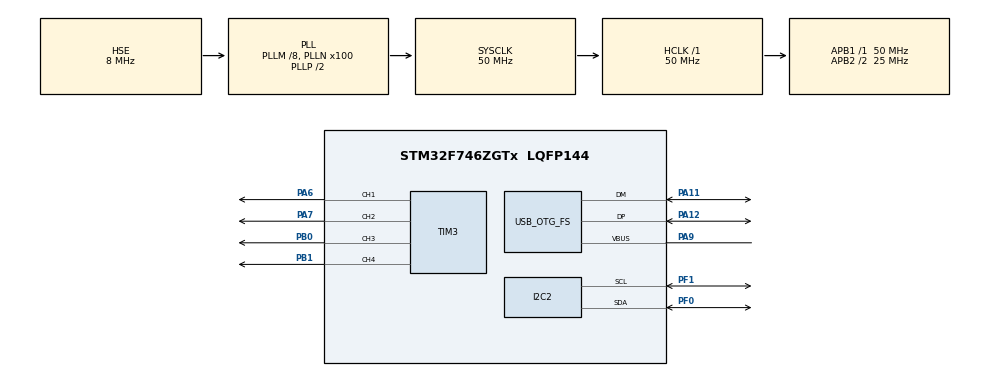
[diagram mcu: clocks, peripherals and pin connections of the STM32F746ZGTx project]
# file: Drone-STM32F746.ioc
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Dma.Request0=TIM3_CH1/TRIG
Dma.Request1=TIM3_CH2
Dma.Request2=TIM3_CH3
Dma.Request3=TIM3_CH4/UP
Dma.TIM3_CH1/TRIG.0.Direction=DMA_MEMORY_TO_PERIPH
Dma.TIM3_CH1/TRIG.0.FIFOMode=DMA_FIFOMODE_ENABLE
Dma.TIM3_CH1/TRIG.0.FIFOThreshold=DMA_FIFO_THRESHOLD_1QUARTERFULL
Dma.TIM3_CH1/TRIG.0.Instance=DMA1_Stream4
Dma.TIM3_CH1/TRIG.0.MemBurst=DMA_MBURST_SINGLE
Dma.TIM3_CH1/TRIG.0.MemDataAlignment=DMA_MDATAALIGN_WORD
Dma.TIM3_CH1/TRIG.0.MemInc=DMA_MINC_ENABLE
Dma.TIM3_CH1/TRIG.0.Mode=DMA_NORMAL
Dma.TIM3_CH1/TRIG.0.PeriphBurst=DMA_PBURST_SINGLE
Dma.TIM3_CH1/TRIG.0.PeriphDataAlignment=DMA_PDATAALIGN_WORD
Dma.TIM3_CH1/TRIG.0.PeriphInc=DMA_PINC_DISABLE
Dma.TIM3_CH1/TRIG.0.Priority=DMA_PRIORITY_HIGH
Dma.TIM3_CH2.1.Direction=DMA_MEMORY_TO_PERIPH
Dma.TIM3_CH2.1.FIFOMode=DMA_FIFOMODE_ENABLE
Dma.TIM3_CH2.1.FIFOThreshold=DMA_FIFO_THRESHOLD_1QUARTERFULL
Dma.TIM3_CH2.1.Instance=DMA1_Stream5
Dma.TIM3_CH2.1.MemBurst=DMA_MBURST_SINGLE
Dma.TIM3_CH2.1.MemDataAlignment=DMA_MDATAALIGN_WORD
Dma.TIM3_CH2.1.MemInc=DMA_MINC_ENABLE
Dma.TIM3_CH2.1.Mode=DMA_NORMAL
Dma.TIM3_CH2.1.PeriphBurst=DMA_PBURST_SINGLE
Dma.TIM3_CH2.1.PeriphDataAlignment=DMA_PDATAALIGN_WORD
Dma.TIM3_CH2.1.PeriphInc=DMA_PINC_DISABLE
Dma.TIM3_CH2.1.Priority=DMA_PRIORITY_HIGH
Dma.TIM3_CH3.2.Direction=DMA_MEMORY_TO_PERIPH
Dma.TIM3_CH3.2.FIFOMode=DMA_FIFOMODE_ENABLE
Dma.TIM3_CH3.2.FIFOThreshold=DMA_FIFO_THRESHOLD_1QUARTERFULL
Dma.TIM3_CH3.2.Instance=DMA1_Stream7
Dma.TIM3_CH3.2.MemBurst=DMA_MBURST_SINGLE
Dma.TIM3_CH3.2.MemDataAlignment=DMA_MDATAALIGN_WORD
Dma.TIM3_CH3.2.MemInc=DMA_MINC_ENABLE
Dma.TIM3_CH3.2.Mode=DMA_NORMAL
Dma.TIM3_CH3.2.PeriphBurst=DMA_PBURST_SINGLE
Dma.TIM3_CH3.2.PeriphDataAlignment=DMA_PDATAALIGN_WORD
Dma.TIM3_CH3.2.PeriphInc=DMA_PINC_DISABLE
Dma.TIM3_CH3.2.Priority=DMA_PRIORITY_HIGH
Dma.TIM3_CH4/UP.3.Direction=DMA_MEMORY_TO_PERIPH
Dma.TIM3_CH4/UP.3.FIFOMode=DMA_FIFOMODE_ENABLE
Dma.TIM3_CH4/UP.3.FIFOThreshold=DMA_FIFO_THRESHOLD_1QUARTERFULL
Dma.TIM3_CH4/UP.3.Instance=DMA1_Stream2
Dma.TIM3_CH4/UP.3.MemBurst=DMA_MBURST_SINGLE
Dma.TIM3_CH4/UP.3.MemDataAlignment=DMA_MDATAALIGN_WORD
Dma.TIM3_CH4/UP.3.MemInc=DMA_MINC_ENABLE
Dma.TIM3_CH4/UP.3.Mode=DMA_NORMAL
Dma.TIM3_CH4/UP.3.PeriphBurst=DMA_PBURST_SINGLE
Dma.TIM3_CH4/UP.3.PeriphDataAlignment=DMA_PDATAALIGN_WORD
Dma.TIM3_CH4/UP.3.PeriphInc=DMA_PINC_DISABLE
Dma.TIM3_CH4/UP.3.Priority=DMA_PRIORITY_HIGH
FREERTOS.Tasks01=defaultTask,40,128,StartDefaultTask,Default,NULL,Dynamic,NULL,NULL;ProcessCmdTask,24,128,StartProcessCmdTask,Default,NULL,Dynamic,NULL,NULL
FREERTOS.configUSE_NEWLIB_REENTRANT=1
I2C2.Timing=0x00C0EAFF
Mcu.Family=STM32F7
Mcu.Name=STM32F746ZGTx
Mcu.Package=LQFP144
NVIC.DMA1_Stream2_IRQn=true\:5\:0\:false\:false\:true\:true\:false\:true\:true
NVIC.DMA1_Stream4_IRQn=true\:5\:0\:false\:false\:true\:true\:false\:true\:true
NVIC.DMA1_Stream5_IRQn=true\:5\:0\:false\:false\:true\:true\:false\:true\:true
NVIC.DMA1_Stream7_IRQn=true\:5\:0\:false\:false\:true\:true\:false\:true\:true
NVIC.OTG_FS_IRQn=true\:5\:0\:false\:false\:true\:true\:false\:true\:true
NVIC.PriorityGroup=NVIC_PRIORITYGROUP_4
NVIC.TIM6_DAC_IRQn=true\:15\:0\:false\:false\:true\:false\:false\:true\:true
NVIC.TimeBase=TIM6_DAC_IRQn
NVIC.TimeBaseIP=TIM6
PA11.Mode=Device_Only
PA11.Signal=USB_OTG_FS_DM
PA12.Mode=Device_Only
PA12.Signal=USB_OTG_FS_DP
PA6.Signal=S_TIM3_CH1
PA7.Signal=S_TIM3_CH2
PA9.Mode=Activate_VBUS
PA9.Signal=USB_OTG_FS_VBUS
PB0.Signal=S_TIM3_CH3
PB1.Signal=S_TIM3_CH4
PC14/OSC32_IN.Mode=LSE-External-Oscillator
PC14/OSC32_IN.Signal=RCC_OSC32_IN
PC15/OSC32_OUT.Mode=LSE-External-Oscillator
PC15/OSC32_OUT.Signal=RCC_OSC32_OUT
PF0.Mode=I2C
PF0.Signal=I2C2_SDA
PF1.Mode=I2C
PF1.Signal=I2C2_SCL
PH0/OSC_IN.Mode=HSE-External-Clock-Source
PH0/OSC_IN.Signal=RCC_OSC_IN
PH1/OSC_OUT.Mode=HSE-External-Clock-Source
PH1/OSC_OUT.Signal=RCC_OSC_OUT
ProjectManager.HeapSize=0x1000
ProjectManager.StackSize=0x800
ProjectManager.TargetToolchain=STM32CubeIDE
RCC.AHBFreq_Value=50000000
RCC.APB1Freq_Value=50000000
RCC.APB1TimFreq_Value=50000000
RCC.APB2CLKDivider=RCC_HCLK_DIV2
RCC.APB2Freq_Value=25000000
RCC.APB2TimFreq_Value=50000000
RCC.CortexFreq_Value=50000000
RCC.HCLKFreq_Value=50000000
RCC.HSE_VALUE=8000000
RCC.HSI_VALUE=16000000
RCC.PLL48CLockSelection=RCC_CLK48SOURCE_PLLSAIP
RCC.PLLM=8
RCC.PLLN=100
RCC.PLLQ=4
RCC.PLLSAIP=RCC_PLLSAIP_DIV4
RCC.SYSCLKFreq_VALUE=50000000
RCC.SYSCLKSource=RCC_SYSCLKSOURCE_PLLCLK
RCC.USBFreq_Value=48000000
RCC.VCOOutputFreq_Value=100000000
SH.S_TIM3_CH1.0=TIM3_CH1,PWM Generation1 CH1
SH.S_TIM3_CH2.0=TIM3_CH2,PWM Generation2 CH2
SH.S_TIM3_CH3.0=TIM3_CH3,PWM Generation3 CH3
SH.S_TIM3_CH4.0=TIM3_CH4,PWM Generation4 CH4
TIM3.Channel-PWM\ Generation1\ CH1=TIM_CHANNEL_1
TIM3.Channel-PWM\ Generation2\ CH2=TIM_CHANNEL_2
TIM3.Channel-PWM\ Generation3\ CH3=TIM_CHANNEL_3
TIM3.Channel-PWM\ Generation4\ CH4=TIM_CHANNEL_4
USB_DEVICE.CLASS_NAME_FS=CDC
USB_DEVICE.VirtualMode-CDC_FS=Cdc
USB_DEVICE.VirtualModeFS=Cdc_FS
USB_OTG_FS.VirtualMode=Device_Only
VP_FREERTOS_VS_CMSIS_V2.Mode=CMSIS_V2
VP_SYS_VS_tim6.Mode=TIM6
VP_USB_DEVICE_VS_USB_DEVICE_CDC_FS.Mode=CDC_FS
board=custom

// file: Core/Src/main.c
/* USER CODE BEGIN Header */
/**
 ******************************************************************************
 * @file           : main.cpp
 * @brief          : Main program body
 ******************************************************************************
 * @attention
 *
 * <h2><center>&copy; Copyright (c) 2023 STMicroelectronics.
 * All rights reserved.</center></h2>
 *
 * This software component is licensed by ST under BSD 3-Clause license,
 * the "License"; You may not use this file except in compliance with the
 * License. You may obtain a copy of the License at:
 *                        opensource.org/licenses/BSD-3-Clause
 *
 ******************************************************************************
 */
/* USER CODE END Header */
#include "main.h"
#include "cmsis_os.h"
#include "dma.h"
#include "i2c.h"
#include "tim.h"
#include "usb_device.h"
#include "gpio.h"

void SystemClock_Config(void);
void MX_FREERTOS_Init(void);

int main(void)
{

  /* MCU Configuration--------------------------------------------------------*/

  /* Reset of all peripherals, Initializes the Flash interface and the Systick. */
  HAL_Init();

  /* Configure the system clock */
  SystemClock_Config();

  /* Initialize all configured peripherals */
  MX_GPIO_Init();
  MX_DMA_Init();
  MX_TIM3_Init();
  MX_I2C2_Init();

  /* Init scheduler */
  osKernelInitialize();  /* Call init function for freertos objects (in freertos.c) */
  MX_FREERTOS_Init();

  /* Start scheduler */
  osKernelStart();

  /* We should never get here as control is now taken by the scheduler */
  /* Infinite loop */
  /* USER CODE BEGIN WHILE */

	while (1)
	{
		HAL_Delay(1);
    /* USER CODE END WHILE */

	}
}

void SystemClock_Config(void)
{
  RCC_OscInitTypeDef RCC_OscInitStruct = {0};
  RCC_ClkInitTypeDef RCC_ClkInitStruct = {0};

  /** Configure LSE Drive Capability
  */
  HAL_PWR_EnableBkUpAccess();

  /** Configure the main internal regulator output voltage
  */
  __HAL_RCC_PWR_CLK_ENABLE();
  __HAL_PWR_VOLTAGESCALING_CONFIG(PWR_REGULATOR_VOLTAGE_SCALE3);

  /** Initializes the RCC Oscillators according to the specified parameters
  * in the RCC_OscInitTypeDef structure.
  */
  RCC_OscInitStruct.OscillatorType = RCC_OSCILLATORTYPE_HSE;
  RCC_OscInitStruct.HSEState = RCC_HSE_BYPASS;
  RCC_OscInitStruct.PLL.PLLState = RCC_PLL_ON;
  RCC_OscInitStruct.PLL.PLLSource = RCC_PLLSOURCE_HSE;
  RCC_OscInitStruct.PLL.PLLM = 8;
  RCC_OscInitStruct.PLL.PLLN = 100;
  RCC_OscInitStruct.PLL.PLLP = RCC_PLLP_DIV2;
  RCC_OscInitStruct.PLL.PLLQ = 4;
  if (HAL_RCC_OscConfig(&RCC_OscInitStruct) != HAL_OK)
  {
    Error_Handler();
  }

  /** Activate the Over-Drive mode
  */
  if (HAL_PWREx_EnableOverDrive() != HAL_OK)
  {
    Error_Handler();
  }

  /** Initializes the CPU, AHB and APB buses clocks
  */
  RCC_ClkInitStruct.ClockType = RCC_CLOCKTYPE_HCLK|RCC_CLOCKTYPE_SYSCLK
                              |RCC_CLOCKTYPE_PCLK1|RCC_CLOCKTYPE_PCLK2;
  RCC_ClkInitStruct.SYSCLKSource = RCC_SYSCLKSOURCE_PLLCLK;
  RCC_ClkInitStruct.AHBCLKDivider = RCC_SYSCLK_DIV1;
  RCC_ClkInitStruct.APB1CLKDivider = RCC_HCLK_DIV1;
  RCC_ClkInitStruct.APB2CLKDivider = RCC_HCLK_DIV2;

  if (HAL_RCC_ClockConfig(&RCC_ClkInitStruct, FLASH_LATENCY_1) != HAL_OK)
  {
    Error_Handler();
  }
}

void HAL_TIM_PeriodElapsedCallback(TIM_HandleTypeDef *htim)
{
  if (htim->Instance == TIM6) {
    HAL_IncTick();
  }
}

void Error_Handler(void)
{
	__disable_irq();
	while (1)
	{
	}
}

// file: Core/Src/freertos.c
/* USER CODE BEGIN Header */
/**
  ******************************************************************************
  * File Name          : freertos.c
  * Description        : Code for freertos applications
  ******************************************************************************
  * @attention
  *
  * Copyright (c) 2024 STMicroelectronics.
  * All rights reserved.
  *
  * This software is licensed under terms that can be found in the LICENSE file
  * in the root directory of this software component.
  * If no LICENSE file comes with this software, it is provided AS-IS.
  *
  ******************************************************************************
  */
/* USER CODE END Header */

#include "FreeRTOS.h"
#include "task.h"
#include "main.h"
#include "cmsis_os.h"

/* USER CODE BEGIN Includes */
#include "scpi/scpi.h"
#include "usbd_cdc_if.h"
#include "i2c.h"

/* InvenSense drivers and utils */
#include "Icm20948.h"
#include "Ak0991x.h"
//#include "SensorTypes.h"
//#include "SensorConfig.h"
//#include "InvScheduler.h"
//#include "RingByteBuffer.h"
//#include "Message.h"
//#include "ErrorHelper.h"
//#include "DataConverter.h"
//#include "RingBuffer.h"
//#include "DynProtocol.h"
//#include "DynProtocolTransportUart.h"
/* USER CODE END Includes */

/* USER CODE BEGIN PM */
#define SCPI_INPUT_BUFFER_LENGTH 256
#define SCPI_ERROR_QUEUE_SIZE 17
#define SCPI_IDN1 "Manisonik"
#define SCPI_IDN2 "INSTR2023"
#define SCPI_IDN3 NULL
#define SCPI_IDN4 "01-02"
#define SCPI_COMMAND_LENGTH 6
#define AK0991x_DEFAULT_I2C_ADDR	0x0C	/* The default I2C address for AK0991x Magnetometers */
#define AK0991x_SECONDARY_I2C_ADDR  0x0E	/* The secondary I2C address for AK0991x Magnetometers */
#define ICM_I2C_ADDR_REVA			0x68 	/* I2C slave address for INV device on Rev A board */
#define ICM_I2C_ADDR_REVB			0x69 	/* I2C slave address for INV device on Rev B board */
/* USER CODE END PM */

/* USER CODE BEGIN Variables */
char scpi_input_buffer[SCPI_INPUT_BUFFER_LENGTH];
scpi_error_t scpi_error_queue_data[SCPI_ERROR_QUEUE_SIZE];
scpi_t scpi_context;
bool allMotorsOn = FALSE;
inv_icm20948_t icm_device;
/* USER CODE END Variables */
/* Definitions for defaultTask */
osThreadId_t defaultTaskHandle;
const osThreadAttr_t defaultTask_attributes = {
  .name = "defaultTask",
  .stack_size = 128 * 4,
  .priority = (osPriority_t) osPriorityNormal,
};
/* Definitions for cmdTask */
osThreadId_t cmdTaskHandle;
const osThreadAttr_t cmdTask_attributes = {
  .name = "cmdTask",
  .stack_size = 128 * 4,
  .priority = (osPriority_t) osPriorityLow,
};

/* USER CODE BEGIN FunctionPrototypes */
size_t SCPI_Write(scpi_t *context, const char *data, size_t len);
int SCPI_Error(scpi_t *context, int_fast16_t err);
scpi_result_t SCPI_Control(scpi_t *context, scpi_ctrl_name_t ctrl, scpi_reg_val_t val);
scpi_result_t SCPI_Reset(scpi_t *context);
scpi_result_t SCPI_Flush(scpi_t *context);
scpi_result_t SCPI_IdnQ(scpi_t *context);
scpi_result_t SCPI_Rst(scpi_t *context);
scpi_result_t SCPI_Motor_All_On(scpi_t *context);
scpi_result_t SCPI_Motor_All_Off(scpi_t *context);

scpi_command_t scpi_commands[] =
{
	{ .pattern = "*IDN?", .callback = SCPI_IdnQ, },
	{ .pattern = "*RST", .callback = SCPI_Rst, },
	{ .pattern = "MOTOR:ALL:ON", .callback = SCPI_Motor_All_On },
	{ .pattern = "MOTOR:ALL:OFF", .callback = SCPI_Motor_All_Off },
	SCPI_CMD_LIST_END
};

scpi_interface_t scpi_interface =
{
		.error = SCPI_Error,
		.write = SCPI_Write,
		.control = SCPI_Control,
		.flush = SCPI_Flush,
		.reset = SCPI_Reset
};
/* USER CODE END FunctionPrototypes */

void StartDefaultTask(void *argument);
void StartCmdTask(void *argument);

extern void MX_USB_DEVICE_Init(void);
void MX_FREERTOS_Init(void); /* (MISRA C 2004 rule 8.1) */

void MX_FREERTOS_Init(void) {
  /* USER CODE BEGIN Init */
  SCPI_Init(&scpi_context,
			scpi_commands,
			&scpi_interface,
			scpi_units_def,
			SCPI_IDN1, SCPI_IDN2, SCPI_IDN3, SCPI_IDN4,
			scpi_input_buffer, SCPI_INPUT_BUFFER_LENGTH,
			scpi_error_queue_data, SCPI_ERROR_QUEUE_SIZE
			);
  /* USER CODE END Init */

  /* Create the thread(s) */
  /* creation of defaultTask */
  defaultTaskHandle = osThreadNew(StartDefaultTask, NULL, &defaultTask_attributes);

  /* creation of cmdTask */
  cmdTaskHandle = osThreadNew(StartCmdTask, NULL, &cmdTask_attributes);

}

void StartDefaultTask(void *argument)
{
  /* init code for USB_DEVICE */
  MX_USB_DEVICE_Init();
  for(;;)
  {
    osDelay(1);
  }
}

void StartCmdTask(void *argument)
{
  /* USER CODE BEGIN StartCmdTask */
  /* Infinite loop */
  for(;;)
  {
    uint8_t rxData[8];
		memset(rxData, 0, 8);

    uint16_t bytesAvailable = CDC_GetRxBufferBytesAvailable_FS();
    if (bytesAvailable > 0)
    {
      uint16_t bytesToRead = bytesAvailable >= 8 ? 8 : bytesAvailable;
      if (CDC_ReadRxBuffer_FS(rxData, bytesToRead)
          == USB_CDC_RX_BUFFER_OK)
      {
        SCPI_Input(&scpi_context, (const char*)rxData, bytesToRead);
      }
    }
    osDelay(1);
  }
  /* USER CODE END StartCmdTask */
}

/* USER CODE BEGIN Application */
int idd_io_hal_read_reg(void * context, uint8_t reg, uint8_t * rbuffer, uint32_t rlen){
	(void)context;

	HAL_I2C_Master_Transmit(&hi2c2, ICM_I2C_ADDR_REVB << 1, &reg, 1, 0xff);
	HAL_StatusTypeDef retVal = HAL_I2C_Master_Receive(&hi2c2, ICM_I2C_ADDR_REVB << 1, rbuffer, rlen, 2000);
	return retVal;
}

int idd_io_hal_write_reg(void * context, uint8_t reg, const uint8_t * wbuffer, uint32_t wlen){
	(void)context;

  uint8_t data[wlen + 1];
	data[0] = reg;
	for (int i = 0; i < wlen; i++) {
		data[i + 1] = wbuffer[i];
	}

	HAL_StatusTypeDef retVal = HAL_I2C_Master_Transmit(&hi2c2, ICM_I2C_ADDR_REVB << 1, data, wlen + 1, 2000);
	return retVal;
}

scpi_result_t SCPI_Motor_All_On(scpi_t *context)
{
	(void) context;
	allMotorsOn = TRUE;
	return SCPI_RES_OK;
}

scpi_result_t SCPI_Motor_All_Off(scpi_t *context)
{
	(void) context;
	allMotorsOn = FALSE;
	return SCPI_RES_OK;
}

scpi_result_t SCPI_IdnQ(scpi_t *context)
{
	(void) context;

	return SCPI_RES_OK;
}

scpi_result_t SCPI_Rst(scpi_t *context)
{
	(void) context;

	return SCPI_RES_OK;
}

size_t SCPI_Write(scpi_t *context, const char *data, size_t len)
{
	(void) context;

	return 0;
}

scpi_result_t SCPI_Flush(scpi_t *context)
{
	(void) context;

	const char txData[] = "\n";
	while (CDC_Transmit_FS((uint8_t*)txData, strlen(txData)) == USBD_BUSY);

	return SCPI_RES_OK;
}

int SCPI_Error(scpi_t *context, int_fast16_t err)
{
	(void) context;

	return 0;
}

scpi_result_t SCPI_Control(scpi_t *context, scpi_ctrl_name_t ctrl,
		scpi_reg_val_t val)
{
	(void) context;

	return SCPI_RES_OK;
}

scpi_result_t SCPI_Reset(scpi_t *context)
{
	(void) context;

	return SCPI_RES_OK;
}
/* USER CODE END Application */
